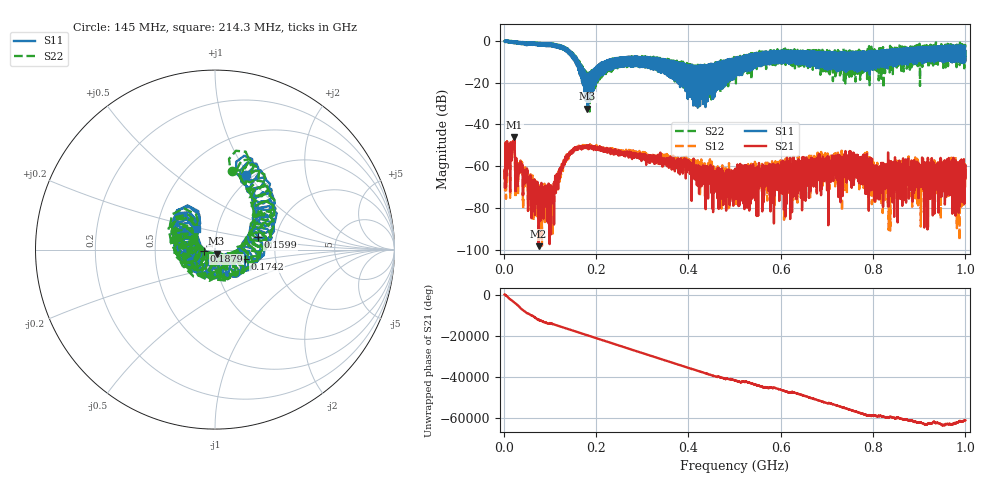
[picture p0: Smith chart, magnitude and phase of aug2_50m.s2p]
!Keysight Technologies N9923A: A.12.45
!Date: Saturday, 02 August 2025 20:05:00
!Timezone: (UTC+08:00) Kuala Lumpur, Singapore
!Model: N9923A
!Serial: MY61181427
!GPS Latitude:
!GPS Longitude:
!GPS TimeStamp: 0001-01-01 00:00:00Z
!GPS Seconds Since Last Read: 0
!CHECKSUM:0142283525
!Correction: S11(ON U)S21(ON U)S12(ON U)S22(ON U)
!S2P File: Measurements:S11,S21,S12,S22:
# Hz S DB R 50
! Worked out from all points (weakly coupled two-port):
!   4001 points, 2 MHz to 1 GHz, reference 50 ohm
!   highest |S21| = -46.07 dB at 22.96 MHz (marker M1); lowest = -98.4 dB at 75.6 MHz (marker M2)
!   lowest |S11| = -32.5 dB at 181.1 MHz (marker M3), VSWR 1.05, Z = 50.8 - j2.25 ohm
!   |S11| at or under -10 dB: 162.4 MHz to 218.5 MHz (56.11 MHz wide, 29.5 % of centre); 366.2007 MHz to 367.7179 MHz (1.517 MHz wide, 0.413 % of centre); 369.5 MHz to 471.3 MHz (101.8 MHz wide, 24.2 % of centre) (the widest 3 of 362)
!   |S22| runs from -33.9 to 0.2 dB; largest |S21 - S12| = 0.0028
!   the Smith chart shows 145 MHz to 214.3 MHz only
!   S11 on the Smith chart (normalised r, x): 145 MHz: 0.92, +0.97; 159.9 MHz: 1.61, +0.23; 174.2 MHz: 1.38, -0.15; 187.9 MHz: 0.88, -0.01; 214.3 MHz: 0.79, +0.18
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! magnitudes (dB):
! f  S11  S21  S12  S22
! 2 MHz  -0.1  -65.8  -63.0  -0.1
! 8.238 MHz  0.1  -50.8  -50.6  0.1
! 22.96 MHz  -0.8  -46.1  -46.2  -0.7
! 29.45 MHz  -1.2  -59.8  -60.0  -1.3
! 75.6 MHz  -1.3  -98.4  -78.3  -1.0
! 103.8 MHz  -1.3  -75.2  -73.3  -1.4
! 145 MHz  -6.9  -53.2  -53.1  -7.0
! 159.9 MHz  -12.1  -52.2  -51.7  -11.9
! 168.4 MHz  -14.9  -51.6  -51.2  -16.2
! 174.2 MHz  -15.2  -50.7  -50.3  -13.7
! 181.1 MHz  -32.5  -50.7  -50.7  -19.2
! 187.9 MHz  -24.1  -51.0  -50.6  -24.7
! 214.3 MHz  -16.3  -51.3  -51.3  -13.4
! 334.8 MHz  -12.4  -54.5  -55.3  -8.7
! 415.4 MHz  -31.1  -66.4  -57.7  -13.2
! 501 MHz  -11.4  -66.9  -73.0  -12.4
! 667.4 MHz  -5.5  -56.0  -58.0  -9.5
! 757.7 MHz  -12.6  -53.6  -56.1  -5.1
! 807.6 MHz  -7.5  -60.6  -64.6  -10.2
! 833.8 MHz  -5.1  -66.4  -90.6  -5.1
! 986.3 MHz  -8.9  -63.8  -64.4  -2.7
! 1 GHz  -4.9  -65.8  -60.7  -1.8
